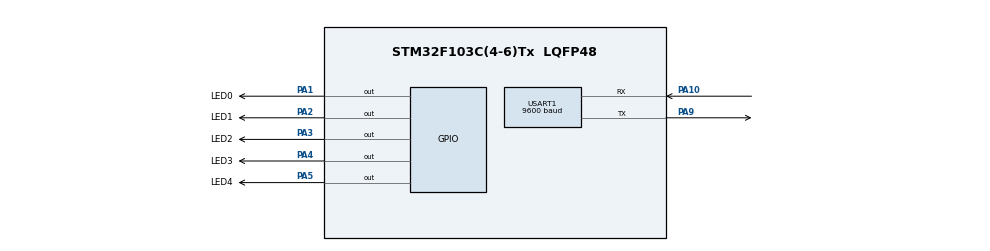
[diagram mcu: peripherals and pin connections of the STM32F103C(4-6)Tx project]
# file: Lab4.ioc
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IWDG.Prescaler=IWDG_PRESCALER_32
IWDG.Reload=63
Mcu.Family=STM32F1
Mcu.Name=STM32F103C(4-6)Tx
Mcu.Package=LQFP48
NVIC.PriorityGroup=NVIC_PRIORITYGROUP_4
NVIC.TIM2_IRQn=true\:0\:0\:false\:false\:true\:true\:true\:true
NVIC.USART1_IRQn=true\:0\:0\:false\:false\:true\:true\:true\:true
PA1.GPIO_Label=LED0
PA1.Signal=GPIO_Output
PA10.Mode=Asynchronous
PA10.Signal=USART1_RX
PA2.GPIO_Label=LED1
PA2.Signal=GPIO_Output
PA3.GPIO_Label=LED2
PA3.Signal=GPIO_Output
PA4.GPIO_Label=LED3
PA4.Signal=GPIO_Output
PA5.GPIO_Label=LED4
PA5.Signal=GPIO_Output
PA9.Mode=Asynchronous
PA9.Signal=USART1_TX
ProjectManager.HeapSize=0x200
ProjectManager.StackSize=0x400
ProjectManager.TargetToolchain=STM32CubeIDE
RCC.APB1Freq_Value=8000000
RCC.APB2Freq_Value=8000000
TIM2.Period=9
TIM2.Prescaler=7999
USART1.BaudRate=9600
USART1.VirtualMode=VM_ASYNC
VP_IWDG_VS_IWDG.Mode=IWDG_Activate
VP_TIM2_VS_ClockSourceINT.Mode=Internal
board=custom

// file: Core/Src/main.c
/* USER CODE BEGIN Header */
/**
  ******************************************************************************
  * @file           : main.c
  * @brief          : Main program body
  ******************************************************************************
  * @attention
  *
  * Copyright (c) 2023 STMicroelectronics.
  * All rights reserved.
  *
  * This software is licensed under terms that can be found in the LICENSE file
  * in the root directory of this software component.
  * If no LICENSE file comes with this software, it is provided AS-IS.
  *
  ******************************************************************************
  */
/* USER CODE END Header */
#include "main.h"

/* USER CODE BEGIN Includes */
#include "stdio.h"
#include "string.h"
#include "scheduler/scheduler.h"
/* USER CODE END Includes */

IWDG_HandleTypeDef hiwdg;

TIM_HandleTypeDef htim2;

UART_HandleTypeDef huart1;

/* USER CODE BEGIN PV */
unsigned int timestamp = 0;
char *strError;
char strTimestamp[32];
uint8_t isTaskJustRun = 0;
uint8_t TaskIdJustRun = 0;
/* USER CODE END PV */

void SystemClock_Config(void);
static void MX_GPIO_Init(void);
static void MX_TIM2_Init(void);
static void MX_IWDG_Init(void);
static void MX_USART1_UART_Init(void);
/* USER CODE BEGIN PFP */
void Blinking_LED0(void);
void Blinking_LED1(void);
void Blinking_LED2(void);
void Blinking_LED3(void);
void Blinking_LED4(void);
void UART_Report_Status(uint8_t errorCode);
void UART_Report_Timestamp(void);
void Delete_Task(uint8_t);
/* USER CODE END PFP */

int main(void)
{

  /* MCU Configuration--------------------------------------------------------*/

  /* Reset of all peripherals, Initializes the Flash interface and the Systick. */
  HAL_Init();

  /* Configur	e the system clock */
  SystemClock_Config();

  /* Initialize all configured peripherals */
  MX_GPIO_Init();
  MX_TIM2_Init();
  MX_IWDG_Init();
  MX_USART1_UART_Init();
  /* USER CODE BEGIN 2 */
  HAL_TIM_Base_Start_IT(&htim2);

  SCH_Init();

  HAL_GPIO_WritePin(GPIOA, LED0_Pin, 1);
  HAL_GPIO_WritePin(GPIOA, LED1_Pin, 1);
  HAL_GPIO_WritePin(GPIOA, LED2_Pin, 1);
  HAL_GPIO_WritePin(GPIOA, LED3_Pin, 1);
  HAL_GPIO_WritePin(GPIOA, LED4_Pin, 1);

  uint8_t task1 = SCH_Add_Task(Blinking_LED0, 0, 500);
  uint8_t task2 = SCH_Add_Task(Blinking_LED1, 10, 1000);
  uint8_t task3 = SCH_Add_Task(Blinking_LED2, 10, 1500);
  uint8_t task4 = SCH_Add_Task(Blinking_LED3, 20, 2000);
  uint8_t task5 = SCH_Add_Task(Blinking_LED4, 20, 2500);
//  SCH_Delete_Task(task3);
  SCH_Delete_Task(task5);
//  SCH_Delete_Task(task5);

  /* USER CODE END 2 */

  /* Infinite loop */
  /* USER CODE BEGIN WHILE */

  while (1)
  {
//	  Blinking_LED0();
	  isTaskJustRun = SCH_Dispatch_Task();
//	  Blinking_LED0();
	  //Get error code from SCH_Report_Status()
	  //Then give code for UART_Report_Status() to transmit string error.
//	  UART_Report_Status(SCH_Report_Status());

	  //Print timestamp when some task ran.
//	  UART_Report_Timestamp();

	  //Go to sleep if no task need to run
	  SCH_Sleep();
//	  HAL_Delay(1000);

    /* USER CODE END WHILE */

  }
}

void SystemClock_Config(void)
{
  RCC_OscInitTypeDef RCC_OscInitStruct = {0};
  RCC_ClkInitTypeDef RCC_ClkInitStruct = {0};

  /** Initializes the RCC Oscillators according to the specified parameters
  * in the RCC_OscInitTypeDef structure.
  */
  RCC_OscInitStruct.OscillatorType = RCC_OSCILLATORTYPE_HSI|RCC_OSCILLATORTYPE_LSI;
  RCC_OscInitStruct.HSIState = RCC_HSI_ON;
  RCC_OscInitStruct.HSICalibrationValue = RCC_HSICALIBRATION_DEFAULT;
  RCC_OscInitStruct.LSIState = RCC_LSI_ON;
  RCC_OscInitStruct.PLL.PLLState = RCC_PLL_NONE;
  if (HAL_RCC_OscConfig(&RCC_OscInitStruct) != HAL_OK)
  {
    Error_Handler();
  }

  /** Initializes the CPU, AHB and APB buses clocks
  */
  RCC_ClkInitStruct.ClockType = RCC_CLOCKTYPE_HCLK|RCC_CLOCKTYPE_SYSCLK
                              |RCC_CLOCKTYPE_PCLK1|RCC_CLOCKTYPE_PCLK2;
  RCC_ClkInitStruct.SYSCLKSource = RCC_SYSCLKSOURCE_HSI;
  RCC_ClkInitStruct.AHBCLKDivider = RCC_SYSCLK_DIV1;
  RCC_ClkInitStruct.APB1CLKDivider = RCC_HCLK_DIV1;
  RCC_ClkInitStruct.APB2CLKDivider = RCC_HCLK_DIV1;

  if (HAL_RCC_ClockConfig(&RCC_ClkInitStruct, FLASH_LATENCY_0) != HAL_OK)
  {
    Error_Handler();
  }
}

static void MX_IWDG_Init(void)
{

  hiwdg.Instance = IWDG;
  hiwdg.Init.Prescaler = IWDG_PRESCALER_32;
  hiwdg.Init.Reload = 63;
  if (HAL_IWDG_Init(&hiwdg) != HAL_OK)
  {
    Error_Handler();
  }

}

static void MX_TIM2_Init(void)
{

  TIM_ClockConfigTypeDef sClockSourceConfig = {0};
  TIM_MasterConfigTypeDef sMasterConfig = {0};

  htim2.Instance = TIM2;
  htim2.Init.Prescaler = 7999;
  htim2.Init.CounterMode = TIM_COUNTERMODE_UP;
  htim2.Init.Period = 9;
  htim2.Init.ClockDivision = TIM_CLOCKDIVISION_DIV1;
  htim2.Init.AutoReloadPreload = TIM_AUTORELOAD_PRELOAD_DISABLE;
  if (HAL_TIM_Base_Init(&htim2) != HAL_OK)
  {
    Error_Handler();
  }
  sClockSourceConfig.ClockSource = TIM_CLOCKSOURCE_INTERNAL;
  if (HAL_TIM_ConfigClockSource(&htim2, &sClockSourceConfig) != HAL_OK)
  {
    Error_Handler();
  }
  sMasterConfig.MasterOutputTrigger = TIM_TRGO_RESET;
  sMasterConfig.MasterSlaveMode = TIM_MASTERSLAVEMODE_DISABLE;
  if (HAL_TIMEx_MasterConfigSynchronization(&htim2, &sMasterConfig) != HAL_OK)
  {
    Error_Handler();
  }

}

static void MX_USART1_UART_Init(void)
{

  huart1.Instance = USART1;
  huart1.Init.BaudRate = 9600;
  huart1.Init.WordLength = UART_WORDLENGTH_8B;
  huart1.Init.StopBits = UART_STOPBITS_1;
  huart1.Init.Parity = UART_PARITY_NONE;
  huart1.Init.Mode = UART_MODE_TX_RX;
  huart1.Init.HwFlowCtl = UART_HWCONTROL_NONE;
  huart1.Init.OverSampling = UART_OVERSAMPLING_16;
  if (HAL_UART_Init(&huart1) != HAL_OK)
  {
    Error_Handler();
  }

}

static void MX_GPIO_Init(void)
{
  GPIO_InitTypeDef GPIO_InitStruct = {0};

  /* GPIO Ports Clock Enable */
  __HAL_RCC_GPIOA_CLK_ENABLE();

  /*Configure GPIO pin Output Level */
  HAL_GPIO_WritePin(GPIOA, LED0_Pin|LED1_Pin|LED2_Pin|LED3_Pin
                          |LED4_Pin, GPIO_PIN_RESET);

  /*Configure GPIO pins : LED0_Pin LED1_Pin LED2_Pin LED3_Pin
                           LED4_Pin */
  GPIO_InitStruct.Pin = LED0_Pin|LED1_Pin|LED2_Pin|LED3_Pin
                          |LED4_Pin;
  GPIO_InitStruct.Mode = GPIO_MODE_OUTPUT_PP;
  GPIO_InitStruct.Pull = GPIO_NOPULL;
  GPIO_InitStruct.Speed = GPIO_SPEED_FREQ_LOW;
  HAL_GPIO_Init(GPIOA, &GPIO_InitStruct);

}

/* USER CODE BEGIN 4 */
void HAL_TIM_PeriodElapsedCallback(TIM_HandleTypeDef * htim){
	SCH_Update();
	timestamp++;
	HAL_IWDG_Refresh(&hiwdg);
}
void Blinking_LED0(void){
	HAL_GPIO_TogglePin(GPIOA, LED0_Pin);
}
void Blinking_LED1(void){
	HAL_GPIO_TogglePin(GPIOA, LED1_Pin);
}
void Blinking_LED2(void){
	HAL_GPIO_TogglePin(GPIOA, LED2_Pin);
}
void Blinking_LED3(void){
	HAL_GPIO_TogglePin(GPIOA, LED3_Pin);
}
void Blinking_LED4(void){
	HAL_GPIO_TogglePin(GPIOA, LED4_Pin);
}
void Delete_Task(uint8_t taskId) {
	SCH_Delete_Task(taskId);
}

void UART_Report_Status(uint8_t errorCode){
	switch(errorCode){
	case NO_ERROR:
		strError = "";
		break;
	case ERROR_SCH_TOO_MANY_TASKS:
		strError = "ERROR: Too many tasks\r\n";
		break;
	case ERROR_SCH_DELETE_NULL_TASK:
		strError = "ERROR: Delete null task\r\n";
		break;
	default:
		strError = "ERROR: Unknown error\r\n";
	}
	if (!strcmp(strError, ""))
		HAL_UART_Transmit(&huart1, (uint8_t*) strError, strlen(strError), HAL_MAX_DELAY);
}
void UART_Report_Timestamp(void){
	if (isTaskJustRun == 0) return;
	isTaskJustRun = 0;
	sprintf(strTimestamp, "%u: ID=%u\r\n", timestamp, TaskIdJustRun);
	HAL_UART_Transmit(&huart1, (uint8_t*) strTimestamp, strlen(strTimestamp), HAL_MAX_DELAY);
}
/* USER CODE END 4 */

void Error_Handler(void)
{
  __disable_irq();
  while (1)
  {
  }
}
